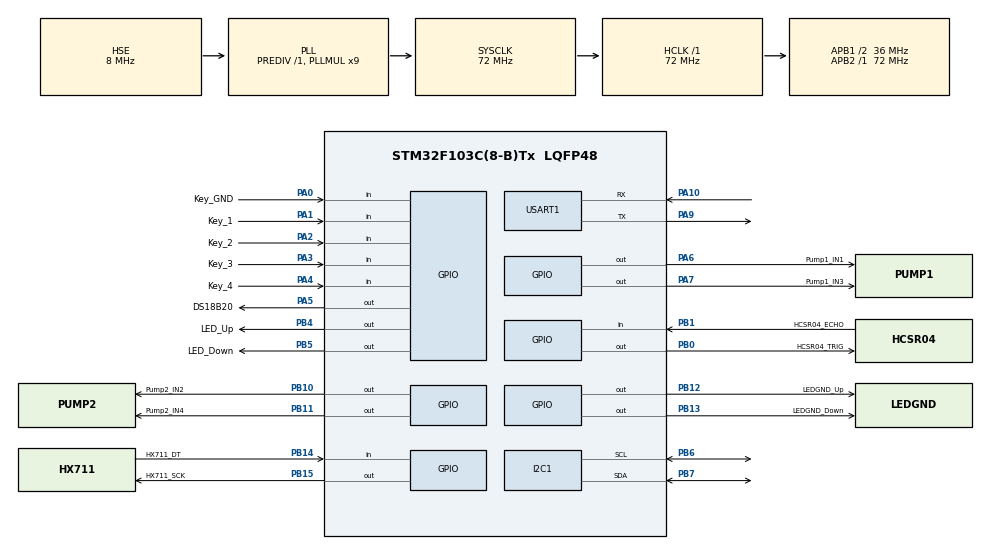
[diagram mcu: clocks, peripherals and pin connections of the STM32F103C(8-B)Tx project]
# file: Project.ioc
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Mcu.Family=STM32F1
Mcu.Name=STM32F103C(8-B)Tx
Mcu.Package=LQFP48
NVIC.PriorityGroup=NVIC_PRIORITYGROUP_4
PA0-WKUP.GPIO_Label=Key_GND
PA0-WKUP.GPIO_PuPd=GPIO_PULLDOWN
PA0-WKUP.Signal=GPIO_Input
PA1.GPIO_Label=Key_1
PA1.GPIO_PuPd=GPIO_PULLUP
PA1.Signal=GPIO_Input
PA10.Mode=Asynchronous
PA10.Signal=USART1_RX
PA13.Mode=Serial_Wire
PA13.Signal=SYS_JTMS-SWDIO
PA14.Mode=Serial_Wire
PA14.Signal=SYS_JTCK-SWCLK
PA2.GPIO_Label=Key_2
PA2.GPIO_PuPd=GPIO_PULLUP
PA2.Signal=GPIO_Input
PA3.GPIO_Label=Key_3
PA3.GPIO_PuPd=GPIO_PULLUP
PA3.Signal=GPIO_Input
PA4.GPIO_Label=Key_4
PA4.GPIO_PuPd=GPIO_PULLUP
PA4.Signal=GPIO_Input
PA5.GPIO_Label=DS18B20
PA5.GPIO_PuPd=GPIO_PULLUP
PA5.GPIO_Speed=GPIO_SPEED_FREQ_HIGH
PA5.Signal=GPIO_Output
PA6.GPIO_Label=Pump1_IN1
PA6.GPIO_PuPd=GPIO_PULLDOWN
PA6.GPIO_Speed=GPIO_SPEED_FREQ_HIGH
PA6.Signal=GPIO_Output
PA7.GPIO_Label=Pump1_IN3
PA7.GPIO_PuPd=GPIO_PULLDOWN
PA7.GPIO_Speed=GPIO_SPEED_FREQ_HIGH
PA7.Signal=GPIO_Output
PA9.Mode=Asynchronous
PA9.Signal=USART1_TX
PB0.GPIO_Label=HCSR04_TRIG
PB0.GPIO_PuPd=GPIO_PULLDOWN
PB0.GPIO_Speed=GPIO_SPEED_FREQ_HIGH
PB0.Signal=GPIO_Output
PB1.GPIO_Label=HCSR04_ECHO
PB1.Signal=GPIO_Input
PB10.GPIO_Label=Pump2_IN2
PB10.GPIO_PuPd=GPIO_PULLDOWN
PB10.GPIO_Speed=GPIO_SPEED_FREQ_HIGH
PB10.Signal=GPIO_Output
PB11.GPIO_Label=Pump2_IN4
PB11.GPIO_PuPd=GPIO_PULLDOWN
PB11.GPIO_Speed=GPIO_SPEED_FREQ_HIGH
PB11.Signal=GPIO_Output
PB12.GPIO_Label=LEDGND_Up
PB12.GPIO_PuPd=GPIO_PULLDOWN
PB12.GPIO_Speed=GPIO_SPEED_FREQ_HIGH
PB12.Signal=GPIO_Output
PB13.GPIO_Label=LEDGND_Down
PB13.GPIO_PuPd=GPIO_PULLDOWN
PB13.GPIO_Speed=GPIO_SPEED_FREQ_HIGH
PB13.Signal=GPIO_Output
PB14.GPIO_Label=HX711_DT
PB14.GPIO_PuPd=GPIO_PULLUP
PB14.Signal=GPIO_Input
PB15.GPIO_Label=HX711_SCK
PB15.GPIO_Speed=GPIO_SPEED_FREQ_HIGH
PB15.Signal=GPIO_Output
PB4.GPIO_Label=LED_Up
PB4.GPIO_PuPd=GPIO_PULLDOWN
PB4.GPIO_Speed=GPIO_SPEED_FREQ_HIGH
PB4.Signal=GPIO_Output
PB5.GPIO_Label=LED_Down
PB5.GPIO_PuPd=GPIO_PULLDOWN
PB5.GPIO_Speed=GPIO_SPEED_FREQ_HIGH
PB5.Signal=GPIO_Output
PB6.Mode=I2C
PB6.Signal=I2C1_SCL
PB7.Mode=I2C
PB7.Signal=I2C1_SDA
PC14-OSC32_IN.Mode=LSE-External-Oscillator
PC14-OSC32_IN.Signal=RCC_OSC32_IN
PC15-OSC32_OUT.Mode=LSE-External-Oscillator
PC15-OSC32_OUT.Signal=RCC_OSC32_OUT
PD0-OSC_IN.Mode=HSE-External-Oscillator
PD0-OSC_IN.Signal=RCC_OSC_IN
PD1-OSC_OUT.Mode=HSE-External-Oscillator
PD1-OSC_OUT.Signal=RCC_OSC_OUT
ProjectManager.HeapSize=0x200
ProjectManager.StackSize=0x400
ProjectManager.TargetToolchain=MDK-ARM V5.32
RCC.AHBFreq_Value=72000000
RCC.APB1CLKDivider=RCC_HCLK_DIV2
RCC.APB1Freq_Value=36000000
RCC.APB1TimFreq_Value=72000000
RCC.APB2Freq_Value=72000000
RCC.APB2TimFreq_Value=72000000
RCC.HCLKFreq_Value=72000000
RCC.PLLMUL=RCC_PLL_MUL9
RCC.PLLSourceVirtual=RCC_PLLSOURCE_HSE
RCC.SYSCLKFreq_VALUE=72000000
RCC.SYSCLKSource=RCC_SYSCLKSOURCE_PLLCLK
RCC.USBFreq_Value=72000000
TIM1.Period=65535
TIM1.Prescaler=71
USART1.VirtualMode=VM_ASYNC
VP_TIM1_VS_ClockSourceINT.Mode=Internal
board=custom

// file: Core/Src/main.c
/* USER CODE BEGIN Header */
/**
  ******************************************************************************
  * @file           : main.c
  * @brief          : Main program body
  ******************************************************************************
  * @attention
  *
  * Copyright (c) 2023 STMicroelectronics.
  * All rights reserved.
  *
  * This software is licensed under terms that can be found in the LICENSE file
  * in the root directory of this software component.
  * If no LICENSE file comes with this software, it is provided AS-IS.
  *
  ******************************************************************************
  */
/* USER CODE END Header */
#include "main.h"
#include "i2c.h"
#include "tim.h"
#include "usart.h"
#include "gpio.h"

/* USER CODE BEGIN Includes */
#include "oled.h"
#include "hcsr04.h"
#include "ds18b20.h"
#include "indicate.h"
#include "pump.h"
#include "hx711.h"
/* USER CODE END Includes */

void SystemClock_Config(void);

int main(void)
{
  /* USER CODE BEGIN 1 */
	uint8_t x = 0;
	uint8_t y = 0;
	uint8_t i = 0;
	uint8_t j = 0;
	float waterStageValue = 0;
	float temperatureValue = 0;
	float weightValue = 0;
	uint8_t waterStageIntegerValue = 0;
	uint8_t waterStageDecimalValue = 0;
	uint8_t temperatureIntegerValue = 0;
	uint8_t temperatureDecimalValue = 0;
	uint8_t temperatureHighValue = 30;
	uint8_t temperatureLowValue = 20;
	uint8_t standardContainerHeight = 30;
	uint8_t waterStageHighValue = 20;
	uint8_t waterStageLowValue = 10;
  /* USER CODE END 1 */

  /* MCU Configuration--------------------------------------------------------*/

  /* Reset of all peripherals, Initializes the Flash interface and the Systick. */
  HAL_Init();

  /* Configure the system clock */
  SystemClock_Config();

  /* Initialize all configured peripherals */
  MX_GPIO_Init();
  MX_I2C1_Init();
  MX_TIM1_Init();
  MX_USART1_UART_Init();
  /* USER CODE BEGIN 2 */
	OLED_Init();
	OLED_Clear();
	OLED_ShowChinese(x + 16 + 16 * 0, y + 2 * 0, 0);
	OLED_ShowChinese(x + 16 + 16 * 1, y + 2 * 0, 1);
	OLED_ShowChinese(x + 16 + 16 * 2, y + 2 * 0, 2);
	OLED_ShowChinese(x + 16 + 16 * 3, y + 2 * 0, 3);
	OLED_ShowChinese(x + 16 + 16 * 4, y + 2 * 0, 4);
	OLED_ShowChinese(x + 16 + 16 * 5, y + 2 * 0, 5);
	OLED_ShowChinese(x + 16 * 0, y + 2 * 1, 6);
	OLED_ShowChinese(x + 16 * 1, y + 2 * 1, 7);
	OLED_ShowChinese(x + 16 * 2, y + 2 * 1, 8);
	OLED_ShowChinese(x + 16 * 3, y + 2 * 1, 9);
	OLED_ShowChar(x + 16 * 4, y + 2 * 1, ':', 16);
	OLED_ShowChinese(x + 16 * 0, y + 2 * 2, 6);
	OLED_ShowChinese(x + 16 * 1, y + 2 * 2, 7);
	OLED_ShowChinese(x + 16 * 2, y + 2 * 2, 10);
	OLED_ShowChinese(x + 16 * 3, y + 2 * 2, 11);
	OLED_ShowChar(x + 16 * 4, y + 2 * 2, ':', 16);
	OLED_ShowChinese(x + 16 * 0, y + 2 * 3, 6);
	OLED_ShowChinese(x + 16 * 1, y + 2 * 3, 7);
	OLED_ShowChinese(x + 16 * 2, y + 2 * 3, 12);
	OLED_ShowChinese(x + 16 * 3, y + 2 * 3, 13);
	OLED_ShowChar(x + 16 * 4, y + 2 * 3, ':', 16);
  /* USER CODE END 2 */

  /* Infinite loop */
  /* USER CODE BEGIN WHILE */
  while (1)
  {
		if(HAL_GPIO_ReadPin(Key_2_GPIO_Port, Key_2_Pin) == GPIO_PIN_RESET)
		{
			HAL_Delay(50);
			i += 1;
		}

		waterStageValue = standardContainerHeight - HCSR04_GetDistance_Repeatedly(5);
		waterStageIntegerValue = (int)waterStageValue;
		waterStageDecimalValue = 10 * (waterStageValue - waterStageIntegerValue);
		OLED_ShowNum(x + 16 * 4 + 8 * 1, y + 2 * 1, waterStageIntegerValue, 2, 16);
		OLED_ShowChar(x + 16 * 4 + 8 * 3, y + 2 * 1, '.', 16);
		OLED_ShowNum(x + 16 * 4 + 8 * 4, y + 2 * 1, waterStageDecimalValue, 1, 16);
		OLED_ShowChar(x + 16 * 4 + 8 * 5, y + 2 * 1, 'c', 16);
		OLED_ShowChar(x + 16 * 4 + 8 * 6, y + 2 * 1, 'm', 16);

		temperatureValue = DS18B20_GetTemperture();
		temperatureIntegerValue = (int)temperatureValue;
		temperatureDecimalValue = 10 * (temperatureValue - (int)temperatureValue);
		OLED_ShowNum(x + 16 * 4 + 8 * 1, y + 2 * 2, temperatureIntegerValue, 2, 16);
		OLED_ShowChar(x + 16 * 4 + 8 * 3, y + 2 * 2, '.', 16);
		OLED_ShowNum(x + 16 * 4 + 8 * 4, y + 2 * 2, temperatureDecimalValue, 1, 16);
		OLED_ShowChar(x + 16 * 4 + 8 * 5, y + 2 * 2, 'C', 16);

		weightValue = HX711_GetWeight();
		OLED_ShowNum(x + 16 * 4 + 8 * 1, y + 2 * 3, weightValue, 4, 16);
		OLED_ShowChar(x + 16 * 4 + 8 * 5, y + 2 * 3, 'g', 16);

		if(i%2==0)
		{
			printf("Auto Mode!\n");
			OLED_ShowChar(x + 16 * 7 + 8 * 1, y + 2 * 3, 'A', 16);
			if(temperatureValue>temperatureHighValue)
			{
				subtractHeat();
			}
			else if(temperatureValue<temperatureLowValue)
			{
				addHeat();
			}
			if(waterStageValue>waterStageHighValue)
			{
				subtractWater();
			}
			else if(waterStageValue<waterStageLowValue)
			{
				addWater();
			}
		}
		else if(i%2==1)
		{
			printf("Hand Mode!\n");
			OLED_ShowChar(x + 16 * 7 + 8 * 1, y + 2 * 3, 'H', 16);
			if(HAL_GPIO_ReadPin(Key_1_GPIO_Port, Key_1_Pin) == GPIO_PIN_RESET)
			{
				HAL_Delay(50);
				j = 1;
			}
			else if(HAL_GPIO_ReadPin(Key_4_GPIO_Port, Key_4_Pin) == GPIO_PIN_RESET)
			{
				HAL_Delay(50);
				j = 2;
			}
			else if(HAL_GPIO_ReadPin(Key_3_GPIO_Port, Key_3_Pin) == GPIO_PIN_RESET)
			{
				HAL_Delay(50);
				j = 3;
			}
			switch(j)
			{
				case 1:
					addWater();
					printf("Add Water!\n");
					break;
				case 2:
					subtractWater();
					printf("Subtract Water!\n");
					break;
				case 3:
					HAL_GPIO_WritePin(LED_Up_GPIO_Port, LED_Up_Pin, GPIO_PIN_SET);
					printf("LED Indicate!\n");
					break;
				default:
					HAL_GPIO_WritePin(Pump1_IN1_GPIO_Port, Pump1_IN1_Pin, GPIO_PIN_RESET);
				  HAL_GPIO_WritePin(Pump1_IN3_GPIO_Port, Pump1_IN3_Pin, GPIO_PIN_RESET);
				  HAL_GPIO_WritePin(Pump2_IN2_GPIO_Port, Pump2_IN2_Pin, GPIO_PIN_RESET);
				  HAL_GPIO_WritePin(Pump2_IN4_GPIO_Port, Pump2_IN4_Pin, GPIO_PIN_RESET);
					HAL_GPIO_WritePin(LED_Up_GPIO_Port, LED_Up_Pin, GPIO_PIN_RESET);
					HAL_GPIO_WritePin(LED_Down_GPIO_Port, LED_Down_Pin, GPIO_PIN_RESET);
					break;
			}
			j = 0;
		}
    /* USER CODE END WHILE */

  }
}

void SystemClock_Config(void)
{
  RCC_OscInitTypeDef RCC_OscInitStruct = {0};
  RCC_ClkInitTypeDef RCC_ClkInitStruct = {0};

  /** Initializes the RCC Oscillators according to the specified parameters
  * in the RCC_OscInitTypeDef structure.
  */
  RCC_OscInitStruct.OscillatorType = RCC_OSCILLATORTYPE_HSE;
  RCC_OscInitStruct.HSEState = RCC_HSE_ON;
  RCC_OscInitStruct.HSEPredivValue = RCC_HSE_PREDIV_DIV1;
  RCC_OscInitStruct.HSIState = RCC_HSI_ON;
  RCC_OscInitStruct.PLL.PLLState = RCC_PLL_ON;
  RCC_OscInitStruct.PLL.PLLSource = RCC_PLLSOURCE_HSE;
  RCC_OscInitStruct.PLL.PLLMUL = RCC_PLL_MUL9;
  if (HAL_RCC_OscConfig(&RCC_OscInitStruct) != HAL_OK)
  {
    Error_Handler();
  }

  /** Initializes the CPU, AHB and APB buses clocks
  */
  RCC_ClkInitStruct.ClockType = RCC_CLOCKTYPE_HCLK|RCC_CLOCKTYPE_SYSCLK
                              |RCC_CLOCKTYPE_PCLK1|RCC_CLOCKTYPE_PCLK2;
  RCC_ClkInitStruct.SYSCLKSource = RCC_SYSCLKSOURCE_PLLCLK;
  RCC_ClkInitStruct.AHBCLKDivider = RCC_SYSCLK_DIV1;
  RCC_ClkInitStruct.APB1CLKDivider = RCC_HCLK_DIV2;
  RCC_ClkInitStruct.APB2CLKDivider = RCC_HCLK_DIV1;

  if (HAL_RCC_ClockConfig(&RCC_ClkInitStruct, FLASH_LATENCY_2) != HAL_OK)
  {
    Error_Handler();
  }
}

void Error_Handler(void)
{
  __disable_irq();
  while (1)
  {
  }
}
